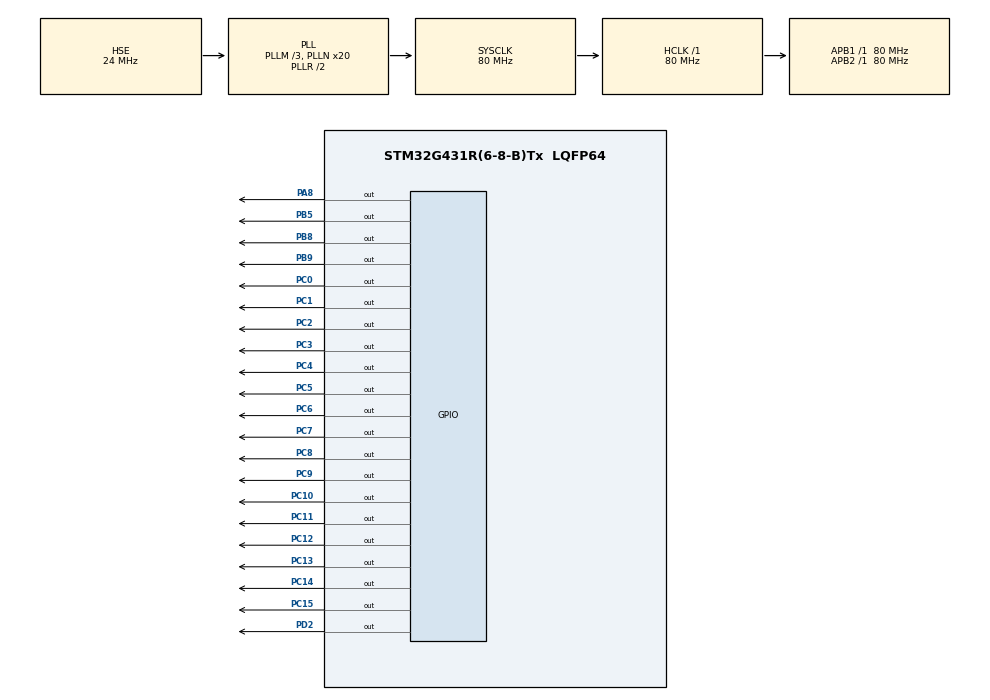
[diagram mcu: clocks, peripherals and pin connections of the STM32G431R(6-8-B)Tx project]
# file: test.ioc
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Mcu.Family=STM32G4
Mcu.Name=STM32G431R(6-8-B)Tx
Mcu.Package=LQFP64
NVIC.PriorityGroup=NVIC_PRIORITYGROUP_4
PA13.Mode=Serial_Wire
PA13.Signal=SYS_JTMS-SWDIO
PA14.Mode=Serial_Wire
PA14.Signal=SYS_JTCK-SWCLK
PA8.Signal=GPIO_Output
PB5.Signal=GPIO_Output
PB8-BOOT0.Signal=GPIO_Output
PB9.Signal=GPIO_Output
PC0.Signal=GPIO_Output
PC1.Signal=GPIO_Output
PC10.PinState=GPIO_PIN_SET
PC10.Signal=GPIO_Output
PC11.PinState=GPIO_PIN_SET
PC11.Signal=GPIO_Output
PC12.PinState=GPIO_PIN_SET
PC12.Signal=GPIO_Output
PC13.Signal=GPIO_Output
PC14-OSC32_IN.Signal=GPIO_Output
PC15-OSC32_OUT.Signal=GPIO_Output
PC2.Signal=GPIO_Output
PC3.Signal=GPIO_Output
PC4.Signal=GPIO_Output
PC5.Signal=GPIO_Output
PC6.Signal=GPIO_Output
PC7.Signal=GPIO_Output
PC8.PinState=GPIO_PIN_SET
PC8.Signal=GPIO_Output
PC9.PinState=GPIO_PIN_SET
PC9.Signal=GPIO_Output
PD2.Signal=GPIO_Output
PF0-OSC_IN.Mode=HSE-External-Oscillator
PF0-OSC_IN.Signal=RCC_OSC_IN
PF1-OSC_OUT.Mode=HSE-External-Oscillator
PF1-OSC_OUT.Signal=RCC_OSC_OUT
ProjectManager.HeapSize=0x200
ProjectManager.StackSize=0x400
ProjectManager.TargetToolchain=MDK-ARM V5.32
RCC.ADC12Freq_Value=80000000
RCC.AHBFreq_Value=80000000
RCC.APB1Freq_Value=80000000
RCC.APB1TimFreq_Value=80000000
RCC.APB2Freq_Value=80000000
RCC.APB2TimFreq_Value=80000000
RCC.CortexFreq_Value=80000000
RCC.EXTERNAL_CLOCK_VALUE=12288000
RCC.HCLKFreq_Value=80000000
RCC.HSE_VALUE=24000000
RCC.HSI48_VALUE=48000000
RCC.HSI_VALUE=16000000
RCC.LSE_VALUE=32768
RCC.PLLM=RCC_PLLM_DIV3
RCC.PLLN=20
RCC.PLLSourceVirtual=RCC_PLLSOURCE_HSE
RCC.SYSCLKFreq_VALUE=80000000
RCC.SYSCLKSource=RCC_SYSCLKSOURCE_PLLCLK
RCC.USBFreq_Value=80000000
RCC.VCOOutputFreq_Value=160000000
VP_SYS_VS_DBSignals.Mode=DisableDeadBatterySignals
board=custom

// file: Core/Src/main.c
/* USER CODE BEGIN Header */
/**
  ******************************************************************************
  * @file           : main.c
  * @brief          : Main program body
  ******************************************************************************
  * @attention
  *
  * <h2><center>&copy; Copyright (c) 2022 STMicroelectronics.
  * All rights reserved.</center></h2>
  *
  * This software component is licensed by ST under BSD 3-Clause license,
  * the "License"; You may not use this file except in compliance with the
  * License. You may obtain a copy of the License at:
  *                        opensource.org/licenses/BSD-3-Clause
  *
  ******************************************************************************
  */
/* USER CODE END Header */
#include "main.h"
#include "gpio.h"

/* USER CODE BEGIN Includes */
#include "led.h"
#include "lcd.h"
#include "stdio.h"
/* USER CODE END Includes */

void SystemClock_Config(void);

int main(void)
{

  /* MCU Configuration--------------------------------------------------------*/

  /* Reset of all peripherals, Initializes the Flash interface and the Systick. */
  HAL_Init();

  /* Configure the system clock */
  SystemClock_Config();

  /* Initialize all configured peripherals */
  MX_GPIO_Init();
  /* USER CODE BEGIN 2 */
	LED_Disp(0x00);//LED�ĳ�ʼ��
	LCD_Init();//LCD���ĳ�ʼ��

	LCD_Clear(Black);
	LCD_SetBackColor(Black);
	LCD_SetTextColor(White);

  /* USER CODE END 2 */

  /* Infinite loop */
  while (1)
  {

    /* USER CODE BEGIN 3 */
		LED_Disp(0x01);
		HAL_Delay(500);
		LED_Disp(0x00);
		HAL_Delay(500);

		char text[30];
		uint i=5;
		sprintf(text,"  CNBR:%d      ",i);
		LCD_DisplayStringLine(Line9, (uint8_t *)text);
  }
  /* USER CODE END 3 */
}

void SystemClock_Config(void)
{
  RCC_OscInitTypeDef RCC_OscInitStruct = {0};
  RCC_ClkInitTypeDef RCC_ClkInitStruct = {0};

  /** Configure the main internal regulator output voltage
  */
  HAL_PWREx_ControlVoltageScaling(PWR_REGULATOR_VOLTAGE_SCALE1);
  /** Initializes the RCC Oscillators according to the specified parameters
  * in the RCC_OscInitTypeDef structure.
  */
  RCC_OscInitStruct.OscillatorType = RCC_OSCILLATORTYPE_HSE;
  RCC_OscInitStruct.HSEState = RCC_HSE_ON;
  RCC_OscInitStruct.PLL.PLLState = RCC_PLL_ON;
  RCC_OscInitStruct.PLL.PLLSource = RCC_PLLSOURCE_HSE;
  RCC_OscInitStruct.PLL.PLLM = RCC_PLLM_DIV3;
  RCC_OscInitStruct.PLL.PLLN = 20;
  RCC_OscInitStruct.PLL.PLLP = RCC_PLLP_DIV2;
  RCC_OscInitStruct.PLL.PLLQ = RCC_PLLQ_DIV2;
  RCC_OscInitStruct.PLL.PLLR = RCC_PLLR_DIV2;
  if (HAL_RCC_OscConfig(&RCC_OscInitStruct) != HAL_OK)
  {
    Error_Handler();
  }
  /** Initializes the CPU, AHB and APB buses clocks
  */
  RCC_ClkInitStruct.ClockType = RCC_CLOCKTYPE_HCLK|RCC_CLOCKTYPE_SYSCLK
                              |RCC_CLOCKTYPE_PCLK1|RCC_CLOCKTYPE_PCLK2;
  RCC_ClkInitStruct.SYSCLKSource = RCC_SYSCLKSOURCE_PLLCLK;
  RCC_ClkInitStruct.AHBCLKDivider = RCC_SYSCLK_DIV1;
  RCC_ClkInitStruct.APB1CLKDivider = RCC_HCLK_DIV1;
  RCC_ClkInitStruct.APB2CLKDivider = RCC_HCLK_DIV1;

  if (HAL_RCC_ClockConfig(&RCC_ClkInitStruct, FLASH_LATENCY_2) != HAL_OK)
  {
    Error_Handler();
  }
}

void Error_Handler(void)
{
  __disable_irq();
  while (1)
  {
  }
}

/************************ (C) COPYRIGHT STMicroelectronics *****END OF FILE****/
